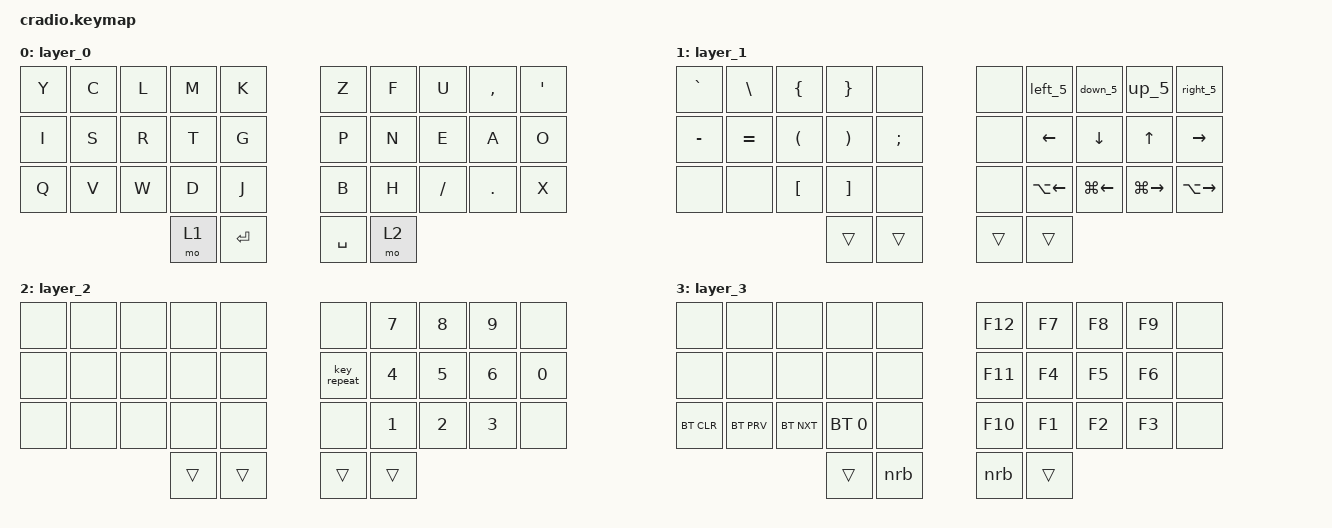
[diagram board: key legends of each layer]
/*
 * Copyright (c) 2020 The ZMK Contributors
 *
 * SPDX-License-Identifier: MIT
 */

#include <behaviors.dtsi>
#include <dt-bindings/zmk/keys.h>
#include <dt-bindings/zmk/bt.h>

#define BTS BT_SEL

#define ALEFT LA(LEFT)
#define ARIGHT LA(RIGHT)
#define GLEFT LG(LEFT)
#define GRIGHT LG(RIGHT)

#define COMBO_TIMEOUT 50

/ {
    behaviors {
        nrb: none_reset_bootloader {
            compatible = "zmk,behavior-tap-dance";
            label = "NONE_RESET_BOOTLOADER";
            #binding-cells = <0>;
            tapping-term-ms = <1000>;
            bindings = <&none>, <&reset>, <&bootloader>;
        };
    };

    combos {
        compatible = "zmk,combos";

        combo_left_control {
            timeout-ms = <COMBO_TIMEOUT>;
            key-positions = <0 10>;
            bindings = <&kp LEFT_CONTROL>;
        };

        combo_left_alt {
            timeout-ms = <COMBO_TIMEOUT>;
            key-positions = <1 11>;
            bindings = <&kp LEFT_ALT>;
        };

        combo_left_gui {
            timeout-ms = <COMBO_TIMEOUT>;
            key-positions = <2 12>;
            bindings = <&kp LEFT_GUI>;
        };

        combo_left_shift {
            timeout-ms = <COMBO_TIMEOUT>;
            key-positions = <3 13>;
            bindings = <&kp LEFT_SHIFT>;
        };

        combo_tab {
            timeout-ms = <COMBO_TIMEOUT>;
            key-positions = <4 14>;
            bindings = <&kp TAB>;
        };

        combo_backspace {
            timeout-ms = <COMBO_TIMEOUT>;
            key-positions = <5 15>;
            bindings = <&kp BACKSPACE>;
        };

        combo_right_shift {
            timeout-ms = <COMBO_TIMEOUT>;
            key-positions = <6 16>;
            bindings = <&kp RIGHT_SHIFT>;
        };

        combo_right_gui {
            timeout-ms = <COMBO_TIMEOUT>;
            key-positions = <7 17>;
            bindings = <&kp RIGHT_GUI>;
        };

        combo_right_alt {
            timeout-ms = <COMBO_TIMEOUT>;
            key-positions = <8 18>;
            bindings = <&kp RIGHT_ALT>;
        };

        combo_right_control {
            timeout-ms = <COMBO_TIMEOUT>;
            key-positions = <9 19>;
            bindings = <&kp RIGHT_CONTROL>;
        };

        combo_escape {
            timeout-ms = <COMBO_TIMEOUT>;
            key-positions = <14 24>;
            bindings = <&kp ESCAPE>;
        };

        combo_delete {
            timeout-ms = <COMBO_TIMEOUT>;
            key-positions = <15 25>;
            bindings = <&kp DELETE>;
        };
    };

    macros {
        ZMK_MACRO(
            left_5,
            wait-ms = <10>;
            tap-ms = <10>;
            bindings = <&kp LEFT &kp LEFT &kp LEFT &kp LEFT &kp LEFT>;
        )

        ZMK_MACRO(
            down_5,
            wait-ms = <10>;
            tap-ms = <10>;
            bindings = <&kp DOWN &kp DOWN &kp DOWN &kp DOWN &kp DOWN>;
        )

        ZMK_MACRO(
            up_5,
            wait-ms = <10>;
            tap-ms = <10>;
            bindings = <&kp UP &kp UP &kp UP &kp UP &kp UP>;
        )

        ZMK_MACRO(
            right_5,
            wait-ms = <10>;
            tap-ms = <10>;
            bindings = <&kp RIGHT &kp RIGHT &kp RIGHT &kp RIGHT &kp RIGHT>;
        )
    };

    keymap {
        compatible = "zmk,keymap";

        layer_0 {
            bindings = <
                &kp Y       &kp C       &kp L       &kp M       &kp K           &kp Z       &kp F       &kp U       &kp COMMA   &kp SQT
                &kp I       &kp S       &kp R       &kp T       &kp G           &kp P       &kp N       &kp E       &kp A       &kp O
                &kp Q       &kp V       &kp W       &kp D       &kp J           &kp B       &kp H       &kp SLASH   &kp PERIOD  &kp X
                                                    &mo 1       &kp RET         &kp SPC     &mo 2
            >;
        };

        layer_1 {
            bindings = <
                &kp GRAVE   &kp BSLH    &kp LBRC    &kp RBRC    &none           &none       &left_5     &down_5     &up_5       &right_5
                &kp MINUS   &kp EQUAL   &kp LPAR    &kp RPAR    &kp SEMI        &none       &kp LEFT    &kp DOWN    &kp UP      &kp RIGHT
                &none       &none       &kp LBKT    &kp RBKT    &none           &none       &kp ALEFT   &kp GLEFT   &kp GRIGHT  &kp ARIGHT
                                                    &trans      &trans          &trans      &trans
            >;
        };

        layer_2 {
            bindings = <
                &none       &none       &none       &none       &none           &none       &kp NUM_7   &kp NUM_8   &kp NUM_9   &none
                &none       &none       &none       &none       &none           &key_repeat &kp NUM_4   &kp NUM_5   &kp NUM_6   &kp NUM_0
                &none       &none       &none       &none       &none           &none       &kp NUM_1   &kp NUM_2   &kp NUM_3   &none
                                                    &trans      &trans          &trans      &trans
            >;
        };

        layer_3 {
            bindings = <
                &none       &none       &none       &none       &none           &kp F12     &kp F7      &kp F8      &kp F9      &none
                &none       &none       &none       &none       &none           &kp F11     &kp F4      &kp F5      &kp F6      &none
                &bt BT_CLR  &bt BT_PRV  &bt BT_NXT  &bt BTS 0   &none           &kp F10     &kp F1      &kp F2      &kp F3      &none
                                                    &trans      &nrb            &nrb        &trans
            >;
        };
    };
};
